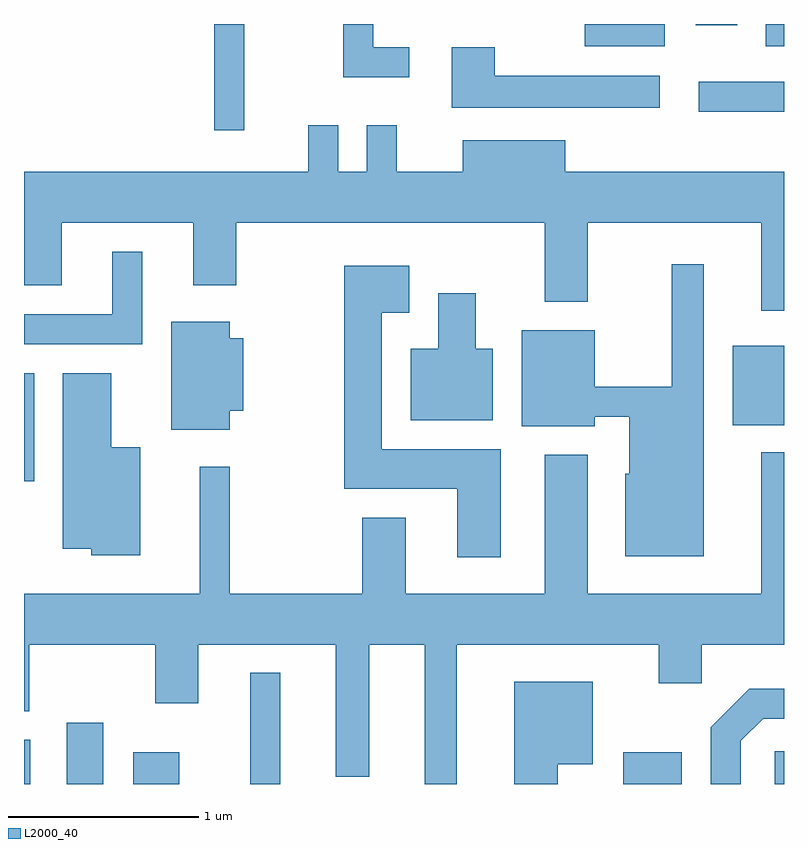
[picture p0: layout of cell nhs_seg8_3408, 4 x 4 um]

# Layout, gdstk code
import gdstk
lib = gdstk.Library(unit=1e-6, precision=1e-09)
def R(c, l, rs):  # rectangles x0, y0, x1, y1
    for r in rs: c.add(gdstk.rectangle(r[:2], r[2:], *l))
def P(c, l, *ps):  # polygons
    for p in ps: c.add(gdstk.Polygon(p, *l))
L2000_40 = (2000, 40)

nhs_seg8_3408 = lib.new_cell('nhs_seg8_3408')
R(nhs_seg8_3408, L2000_40, [(287.611,1842.342,287.644,1842.574), (287.836,1842.342,288.029,1842.664), (288.186,1842.342,288.429,1842.509), (288.801,1842.342,288.959,1842.928), (290.766,1842.342,291.074,1842.509), (291.561,1842.342,291.611,1842.514), (287.611,1843.936,287.664,1844.504), (291.341,1844.231,291.611,1844.649), (288.611,1845.783,288.769,1846.342), (291.163,1845.881,291.611,1846.039), (290.561,1846.226,290.984,1846.342), (291.516,1846.226,291.611,1846.342), (291.146,1846.336,291.364,1846.342)])
P(nhs_seg8_3408, L2000_40, [(289.638,1846.219),(289.449,1846.219),(289.449,1846.342),(289.291,1846.342),(289.291,1846.061),(289.638,1846.061)],
  [(290.958,1846.069),(290.089,1846.069),(290.089,1846.219),(289.861,1846.219),(289.861,1845.901),(290.958,1845.901)],
  [(289.106,1845.808),(289.106,1845.564),(287.611,1845.564),(287.611,1844.966),(287.809,1844.966),(287.809,1845.296),(288.501,1845.296),(288.501,1844.966),(288.729,1844.966),(288.729,1845.296),(290.351,1845.296),(290.351,1844.881),(290.579,1844.881),(290.579,1845.296),(291.491,1845.296),(291.491,1844.833),(291.611,1844.833),(291.611,1845.564),(290.459,1845.564),(290.459,1845.729),(289.921,1845.729),(289.921,1845.564),(289.574,1845.564),(289.574,1845.808),(289.416,1845.808),(289.416,1845.564),(289.264,1845.564),(289.264,1845.808)],
  [(288.234,1845.143),(288.076,1845.143),(288.076,1844.814),(287.611,1844.814),(287.611,1844.656),(288.234,1844.656)],
  [(291.189,1845.078),(291.021,1845.078),(291.021,1844.434),(290.614,1844.434),(290.614,1844.729),(290.231,1844.729),(290.231,1844.226),(290.614,1844.226),(290.614,1844.276),(290.796,1844.276),(290.796,1843.974),(290.776,1843.974),(290.776,1843.541),(291.189,1843.541)],
  [(290.119,1844.104),(289.494,1844.104),(289.494,1844.821),(289.639,1844.821),(289.639,1845.069),(289.296,1845.069),(289.296,1843.896),(289.891,1843.896),(289.891,1843.536),(290.119,1843.536)],
  [(290.079,1844.634),(289.989,1844.634),(289.989,1844.924),(289.791,1844.924),(289.791,1844.634),(289.646,1844.634),(289.646,1844.256),(290.079,1844.256)],
  [(288.694,1844.306),(288.764,1844.306),(288.764,1844.689),(288.694,1844.689),(288.694,1844.774),(288.386,1844.774),(288.386,1844.206),(288.694,1844.206)],
  [(288.224,1844.114),(288.069,1844.114),(288.069,1844.504),(287.816,1844.504),(287.816,1843.581),(287.966,1843.581),(287.966,1843.546),(288.224,1843.546)],
  [(289.889,1843.076),(290.951,1843.076),(290.951,1842.871),(291.179,1842.871),(291.179,1843.076),(291.611,1843.076),(291.611,1844.088),(291.491,1844.088),(291.491,1843.344),(290.579,1843.344),(290.579,1844.074),(290.351,1844.074),(290.351,1843.344),(289.619,1843.344),(289.619,1843.744),(289.391,1843.744),(289.391,1843.344),(288.694,1843.344),(288.694,1844.013),(288.536,1844.013),(288.536,1843.344),(287.611,1843.344),(287.611,1842.726),(287.639,1842.726),(287.639,1843.076),(288.301,1843.076),(288.301,1842.766),(288.529,1842.766),(288.529,1843.076),(289.251,1843.076),(289.251,1842.381),(289.429,1842.381),(289.429,1843.076),(289.721,1843.076),(289.721,1842.342),(289.889,1842.342)],
  [(290.419,1842.446),(290.604,1842.446),(290.604,1842.879),(290.191,1842.879),(290.191,1842.342),(290.419,1842.342)],
  [(291.384,1842.569),(291.502,1842.686),(291.611,1842.686),(291.611,1842.844),(291.429,1842.844),(291.226,1842.642),(291.226,1842.342),(291.384,1842.342)])

lib.write_gds('nhs_seg8_3408.gds')
